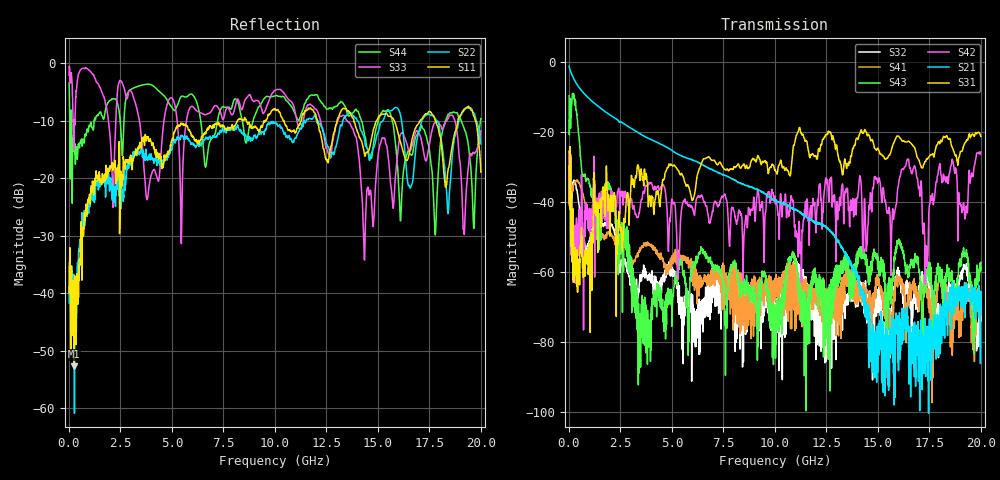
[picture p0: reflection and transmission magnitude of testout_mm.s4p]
!Keysight Technologies PLTS 2017U1, Build 20170714.1
!FILE: G:\CAP1P_CBP1N_CAP1N_CBP1P.s4p
!$DUT_CFG_DESC: Default 4-Port Configuration
!$NUMBER_PORTS: 4
!$DIFF_PORT_MAP: 1|2P|2|2P|0|UC|0|UC|
!$PORT_MAP: 1|1|<<<<<<|2|2|>>>>>>|3|3|<<<<<<|4|4|>>>>>>|
!Date: Tuesday, August 29, 2017, 01:43:54
!S4P File: Measurements: <S11,S12,S13,S14>,
!<S21,S22,S23,S24>,
!<S31,S32,S33,S34>,
!<S41,S42,S43,S44>:
!Created with skrf (http://scikit-rf.org).
# MHz S RI R 100.0
!freq
! ReS14 ImS14
! ReS24 ImS24
! ReS34 ImS34
! ReS44 ImS44
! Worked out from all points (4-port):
!   2000 points, 10 MHz to 20 GHz, reference 100 ohm
!   strongest paths, dB at 10 MHz, 5.01 GHz, 10.01 GHz, 15.01 GHz, 20 GHz:
!     S31: -29.7, -29.6, -30.8, -24.8, -21.2
!     S21: -1.2, -25.3, -39.5, -81.2, -70.3
!     S42: -26.2, -39.4, -39.7, -34.3, -25.7
!     S43: -9.7, -70.9, -69.6, -57.9, -57.2
!     S41: -30.4, -56.5, -68.0, -63.8, -70.5
!     S32: -25.5, -60.7, -76.6, -65.0, -73.9
!   lowest |S11| = -52.7 dB at 240 MHz (marker M1), VSWR 1.00, Z = 100 - j0.433 ohm
!   |S11| at or under -10 dB: start of sweep to 8.182 GHz; 13.83 GHz to 14.93 GHz (1.101 GHz wide, 7.66 % of centre); 15.79 GHz to 17.05 GHz (1.26 GHz wide, 7.67 % of centre)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
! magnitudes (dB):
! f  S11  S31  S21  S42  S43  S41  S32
! 10 MHz  -40.0  -29.7  -1.2  -26.2  -9.7  -30.4  -25.5
! 240 MHz  -52.7  -54.1  -4.9  -52.4  -9.3  -34.8  -33.7
! 3.79 GHz  -12.8  -33.9  -21.6  -35.3  -73.9  -51.6  -61.8
! 11.21 GHz  -10.7  -18.8  -43.1  -51.8  -63.9  -62.5  -58.5
! 16.43 GHz  -16.9  -22.8  -70.0  -27.8  -59.0  -68.7  -62.9
! 17.35 GHz  -8.9  -27.8  -78.3  -53.1  -61.7  -65.4  -61.3
! 20 GHz  -19.0  -21.2  -70.3  -25.7  -57.2  -70.5  -73.9
